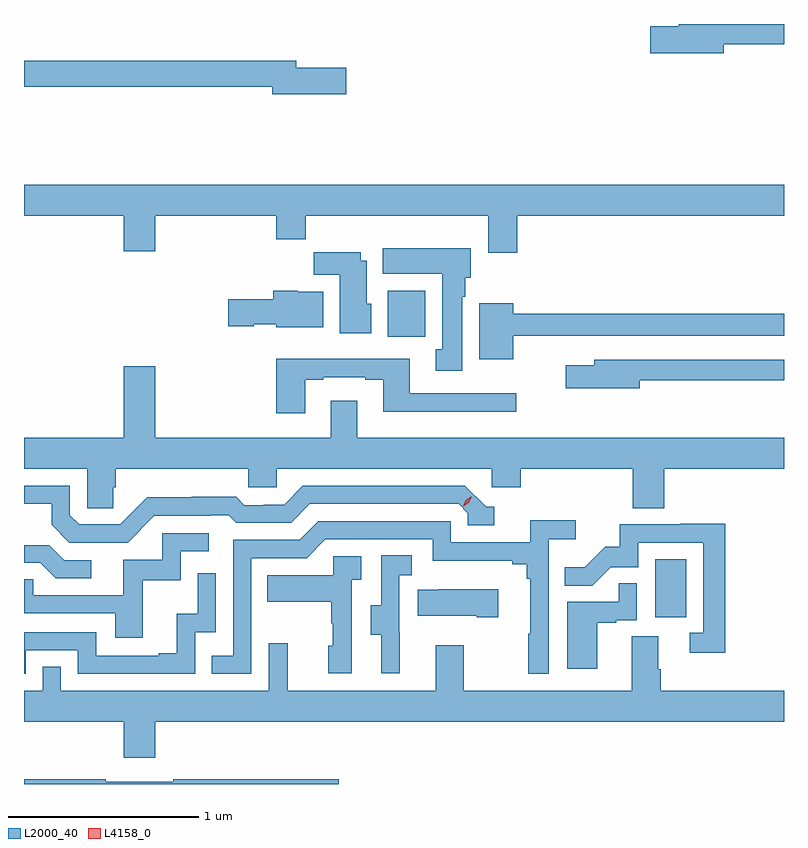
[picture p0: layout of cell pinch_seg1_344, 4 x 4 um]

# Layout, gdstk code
import gdstk
lib = gdstk.Library(unit=1e-6, precision=1e-09)
def R(c, l, rs):  # rectangles x0, y0, x1, y1
    for r in rs: c.add(gdstk.rectangle(r[:2], r[2:], *l))
def P(c, l, *ps):  # polygons
    for p in ps: c.add(gdstk.Polygon(p, *l))
L2000_40 = (2000, 40)
L4158_0 = (4158, 0)

pinch_seg1_344 = lib.new_cell('pinch_seg1_344')
R(pinch_seg1_344, L2000_40, [(1006.964,553.614,1007.128,553.921), (1005.557,555.092,1005.754,555.334)])
P(pinch_seg1_344, L2000_40, [(1007.326,556.63),(1007.642,556.63),(1007.642,556.737),(1007.087,556.737),(1007.087,556.725),(1006.938,556.725),(1006.938,556.583),(1007.326,556.583)],
  [(1005.337,556.508),(1005.076,556.508),(1005.076,556.544),(1003.642,556.544),(1003.642,556.408),(1004.948,556.408),(1004.948,556.366),(1005.337,556.366)],
  [(1006.238,555.728),(1007.642,555.728),(1007.642,555.892),(1003.642,555.892),(1003.642,555.728),(1004.168,555.728),(1004.168,555.54),(1004.332,555.54),(1004.332,555.728),(1004.969,555.728),(1004.969,555.604),(1005.125,555.604),(1005.125,555.728),(1006.085,555.728),(1006.085,555.534),(1006.238,555.534)],
  [(1005.949,555.302),(1005.964,555.302),(1005.964,555.402),(1005.994,555.402),(1005.994,555.556),(1005.53,555.556),(1005.53,555.422),(1005.842,555.422),(1005.842,555.026),(1005.809,555.026),(1005.809,554.913),(1005.949,554.913)],
  [(1005.469,555.264),(1005.445,555.264),(1005.445,555.49),(1005.415,555.49),(1005.415,555.535),(1005.166,555.535),(1005.166,555.416),(1005.305,555.416),(1005.305,555.11),(1005.469,555.11)],
  [(1005.217,555.328),(1005.084,555.328),(1005.084,555.334),(1004.954,555.334),(1004.954,555.288),(1004.718,555.288),(1004.718,555.146),(1004.85,555.146),(1004.85,555.158),(1004.97,555.158),(1004.97,555.14),(1005.217,555.14)],
  [(1006.216,555.095),(1006.506,555.095),(1006.506,555.096),(1007.642,555.096),(1007.642,555.212),(1006.216,555.212),(1006.216,555.268),(1006.037,555.268),(1006.037,554.972),(1006.216,554.972)],
  [(1005.121,554.865),(1005.217,554.865),(1005.217,554.877),(1005.437,554.877),(1005.437,554.865),(1005.533,554.865),(1005.533,554.696),(1006.234,554.696),(1006.234,554.793),(1005.673,554.793),(1005.673,554.974),(1004.969,554.974),(1004.969,554.688),(1005.121,554.688)],
  [(1006.882,554.862),(1007.642,554.862),(1007.642,554.97),(1006.643,554.97),(1006.643,554.941),(1006.494,554.941),(1006.494,554.819),(1006.882,554.819)],
  [(1005.397,554.755),(1005.257,554.755),(1005.257,554.56),(1004.332,554.56),(1004.332,554.935),(1004.168,554.935),(1004.168,554.56),(1003.642,554.56),(1003.642,554.396),(1003.974,554.396),(1003.974,554.188),(1004.111,554.188),(1004.111,554.298),(1004.126,554.298),(1004.126,554.396),(1004.823,554.396),(1004.823,554.298),(1004.973,554.298),(1004.973,554.396),(1006.104,554.396),(1006.104,554.298),(1006.256,554.298),(1006.256,554.396),(1006.847,554.396),(1006.847,554.188),(1007.012,554.188),(1007.012,554.396),(1007.642,554.396),(1007.642,554.56),(1005.397,554.56)],
  [(1004.328,554.148),(1004.621,554.148),(1004.621,554.151),(1004.72,554.151),(1004.759,554.112),(1005.048,554.112),(1005.147,554.211),(1005.93,554.211),(1005.978,554.163),(1005.978,554.1),(1006.117,554.1),(1006.117,554.196),(1006.074,554.196),(1005.963,554.307),(1005.11,554.307),(1005.011,554.208),(1004.904,554.208),(1004.904,554.205),(1004.801,554.205),(1004.759,554.248),(1004.526,554.248),(1004.526,554.245),(1004.29,554.245),(1004.148,554.103),(1003.932,554.103),(1003.884,554.151),(1003.884,554.307),(1003.642,554.307),(1003.642,554.211),(1003.787,554.211),(1003.787,554.101),(1003.881,554.007),(1004.187,554.007)],
  [(1004.838,553.926),(1005.129,553.926),(1005.228,554.025),(1005.792,554.025),(1005.792,553.913),(1006.211,553.913),(1006.211,553.894),(1006.288,553.894),(1006.288,553.817),(1006.307,553.817),(1006.307,553.529),(1006.296,553.529),(1006.296,553.317),(1006.404,553.317),(1006.404,554.024),(1006.546,554.024),(1006.546,554.126),(1006.307,554.126),(1006.307,554.01),(1005.888,554.01),(1005.888,554.121),(1005.191,554.121),(1005.092,554.022),(1004.742,554.022),(1004.742,553.413),(1004.629,553.413),(1004.629,553.317),(1004.838,553.317)],
  [(1007.333,554.108),(1007.095,554.108),(1007.095,554.103),(1006.777,554.103),(1006.777,553.986),(1006.7,553.986),(1006.593,553.879),(1006.489,553.879),(1006.489,553.78),(1006.633,553.78),(1006.731,553.878),(1006.875,553.878),(1006.875,554.007),(1007.217,554.007),(1007.217,553.533),(1007.145,553.533),(1007.145,553.428),(1007.333,553.428)],
  [(1004.267,553.809),(1004.466,553.809),(1004.466,553.962),(1004.614,553.962),(1004.614,554.058),(1004.37,554.058),(1004.37,553.917),(1004.165,553.917),(1004.165,553.731),(1003.691,553.731),(1003.691,553.815),(1003.642,553.815),(1003.642,553.635),(1004.123,553.635),(1004.123,553.506),(1004.267,553.506)],
  [(1003.996,553.914),(1003.854,553.914),(1003.774,553.994),(1003.642,553.994),(1003.642,553.902),(1003.727,553.902),(1003.808,553.821),(1003.996,553.821)],
  [(1005.62,553.533),(1005.618,553.533),(1005.618,553.837),(1005.682,553.837),(1005.682,553.94),(1005.522,553.94),(1005.522,553.677),(1005.467,553.677),(1005.467,553.522),(1005.521,553.522),(1005.521,553.32),(1005.62,553.32)],
  [(1005.366,553.811),(1005.418,553.811),(1005.418,553.935),(1005.27,553.935),(1005.27,553.837),(1004.923,553.837),(1004.923,553.697),(1005.258,553.697),(1005.258,553.583),(1005.268,553.583),(1005.268,553.464),(1005.242,553.464),(1005.242,553.32),(1005.366,553.32)],
  [(1003.65,553.44),(1003.926,553.44),(1003.926,553.317),(1004.544,553.317),(1004.544,553.536),(1004.652,553.536),(1004.652,553.846),(1004.556,553.846),(1004.556,553.634),(1004.447,553.634),(1004.447,553.426),(1004.351,553.426),(1004.351,553.413),(1004.022,553.413),(1004.022,553.536),(1003.642,553.536),(1003.642,553.317),(1003.65,553.317)],
  [(1006.66,553.587),(1006.76,553.587),(1006.76,553.599),(1006.866,553.599),(1006.866,553.793),(1006.771,553.793),(1006.771,553.695),(1006.502,553.695),(1006.502,553.344),(1006.66,553.344)],
  [(1006.138,553.762),(1005.823,553.762),(1005.823,553.759),(1005.715,553.759),(1005.715,553.622),(1006.025,553.622),(1006.025,553.615),(1006.138,553.615)],
  [(1004.332,553.064),(1007.642,553.064),(1007.642,553.228),(1006.994,553.228),(1006.994,553.34),(1006.981,553.34),(1006.981,553.514),(1006.841,553.514),(1006.841,553.228),(1005.957,553.228),(1005.957,553.468),(1005.809,553.468),(1005.809,553.228),(1005.029,553.228),(1005.029,553.477),(1004.931,553.477),(1004.931,553.228),(1003.836,553.228),(1003.836,553.355),(1003.74,553.355),(1003.74,553.228),(1003.642,553.228),(1003.642,553.064),(1004.168,553.064),(1004.168,552.876),(1004.332,552.876)],
  [(1005.298,552.763),(1004.428,552.763),(1004.428,552.75),(1004.072,552.75),(1004.072,552.763),(1003.642,552.763),(1003.642,552.737),(1005.298,552.737)])
P(pinch_seg1_344, L4158_0, [(1005.953,554.198),(1005.953,554.198),(1005.968,554.231),(1005.998,554.251),(1005.999,554.251),(1005.999,554.251),(1005.983,554.218),(1005.953,554.198)])

lib.write_gds('pinch_seg1_344.gds')
